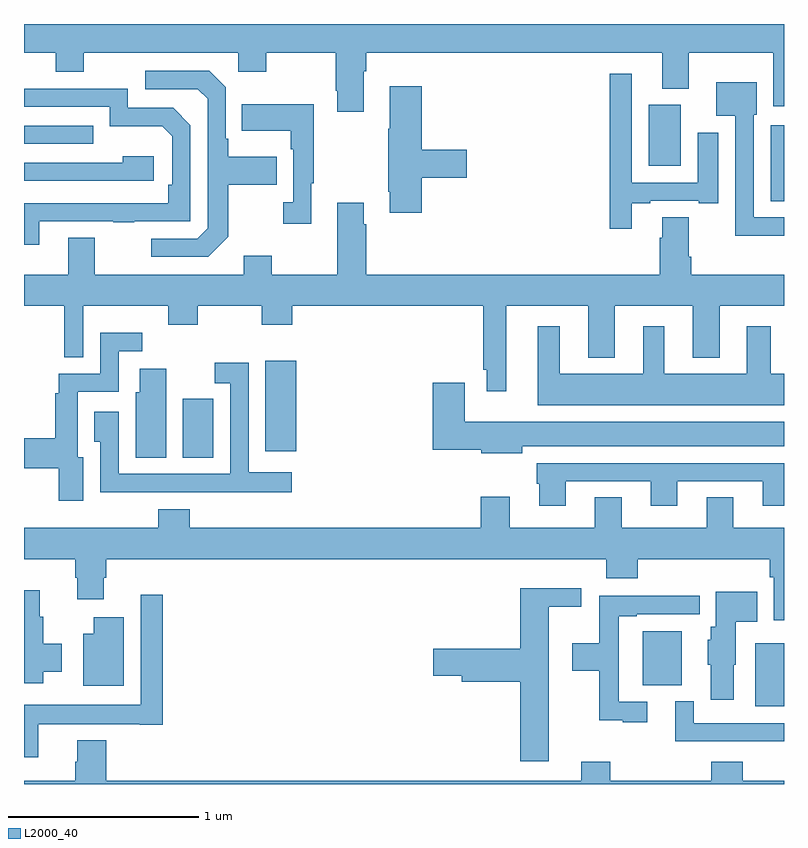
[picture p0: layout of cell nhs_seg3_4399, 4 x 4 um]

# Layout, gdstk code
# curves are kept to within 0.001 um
import gdstk
lib = gdstk.Library(unit=1e-6, precision=1e-09)
def R(c, l, rs):  # rectangles x0, y0, x1, y1
    for r in rs: c.add(gdstk.rectangle(r[:2], r[2:], *l))
def P(c, l, *ps):  # polygons
    for p in ps: c.add(gdstk.Polygon(p, *l))
L2000_40 = (2000, 40)

nhs_seg3_4399 = lib.new_cell('nhs_seg3_4399')
R(nhs_seg3_4399, L2000_40, [(348.848,698.81,349,699.142), (348.257,698.921,348.463,699.205), (345.836,700.117,345.997,700.428), (346.271,700.152,346.432,700.627), (348.929,701.467,349,701.866), (348.287,701.654,348.457,701.974), (345,701.769,345.365,701.865)])
P(nhs_seg3_4399, L2000_40, [(346.789,702.152),(346.802,702.152),(346.802,702.248),(348.359,702.248),(348.359,702.059),(348.499,702.059),(348.499,702.248),(348.944,702.248),(348.944,701.967),(349,701.967),(349,702.4),(345,702.4),(345,702.248),(345.167,702.248),(345.167,702.149),(345.315,702.149),(345.315,702.248),(346.128,702.248),(346.128,702.149),(346.275,702.149),(346.275,702.248),(346.642,702.248),(346.642,702.049),(346.649,702.049),(346.649,701.937),(346.789,701.937)],
  [(346.075,701.281),(346.075,701.554),(346.331,701.554),(346.331,701.701),(346.075,701.701),(346.075,701.797),(346.062,701.797),(346.062,702.066),(345.975,702.153),(345.639,702.153),(345.639,702.057),(345.915,702.057),(345.966,702.006),(345.966,701.325),(345.912,701.271),(345.669,701.271),(345.669,701.175),(345.969,701.175)],
  [(348.199,701.457),(348.295,701.457),(348.295,701.469),(348.551,701.469),(348.551,701.457),(348.655,701.457),(348.655,701.827),(348.545,701.827),(348.545,701.565),(348.198,701.565),(348.198,702.139),(348.082,702.139),(348.082,701.322),(348.199,701.322)],
  [(349,701.382),(348.84,701.382),(348.84,701.922),(348.856,701.922),(348.856,702.094),(348.644,702.094),(348.644,701.918),(348.744,701.918),(348.744,701.285),(349,701.285)],
  [(347.093,701.591),(347.329,701.591),(347.329,701.738),(347.093,701.738),(347.093,702.073),(346.925,702.073),(346.925,701.849),(346.918,701.849),(346.918,701.518),(346.925,701.518),(346.925,701.406),(347.093,701.406)],
  [(345.079,701.361),(345.469,701.361),(345.469,701.356),(345.581,701.356),(345.581,701.361),(345.876,701.361),(345.876,701.868),(345.786,701.958),(345.546,701.958),(345.546,702.06),(345,702.06),(345,701.964),(345.45,701.964),(345.45,701.861),(345.727,701.861),(345.78,701.808),(345.78,701.554),(345.76,701.554),(345.76,701.457),(345,701.456),(345,701.238),(345.079,701.238)],
  [(346.513,701.561),(346.525,701.561),(346.525,701.977),(346.147,701.977),(346.147,701.837),(346.404,701.837),(346.404,701.741),(346.416,701.741),(346.416,701.462),(346.365,701.462),(346.365,701.349),(346.513,701.349)],
  [(345.682,701.704),(345.521,701.704),(345.521,701.67),(345,701.67),(345,701.574),(345.682,701.574)],
  [(347.539,700.916),(347.969,700.916),(347.969,700.643),(348.109,700.643),(348.109,700.916),(348.521,700.916),(348.521,700.643),(348.661,700.643),(348.661,700.916),(349,700.916),(349,701.08),(348.512,701.08),(348.512,701.176),(348.499,701.176),(348.499,701.384),(348.359,701.384),(348.359,701.276),(348.347,701.276),(348.347,701.08),(346.802,701.08),(346.802,701.345),(346.789,701.345),(346.789,701.458),(346.649,701.458),(346.649,701.08),(346.305,701.08),(346.305,701.179),(346.157,701.179),(346.157,701.08),(345.373,701.08),(345.373,701.275),(345.233,701.275),(345.233,701.08),(345,701.08),(345,700.916),(345.212,700.916),(345.212,700.645),(345.313,700.645),(345.313,700.916),(345.76,700.916),(345.76,700.817),(345.915,700.817),(345.915,700.916),(346.252,700.916),(346.252,700.817),(346.412,700.817),(346.412,700.916),(347.418,700.916),(347.418,700.579),(347.435,700.579),(347.435,700.467),(347.539,700.467)],
  [(349,700.558),(348.931,700.558),(348.931,700.81),(348.803,700.81),(348.803,700.558),(348.37,700.558),(348.37,700.81),(348.26,700.81),(348.26,700.558),(347.821,700.558),(347.821,700.81),(347.705,700.81),(347.705,700.394),(349,700.394)],
  [(345.313,700.119),(345.283,700.119),(345.283,700.464),(345.498,700.464),(345.498,700.677),(345.622,700.677),(345.622,700.774),(345.402,700.774),(345.402,700.56),(345.182,700.56),(345.182,700.457),(345.165,700.457),(345.165,700.221),(345,700.221),(345,700.061),(345.182,700.061),(345.182,699.891),(345.313,699.891)],
  [(345.623,699.936),(345.989,699.936),(345.989,699.935),(346.408,699.935),(346.408,700.042),(346.182,700.042),(346.182,700.618),(346.005,700.618),(346.005,700.509),(346.086,700.509),(346.086,700.032),(345.498,700.032),(345.498,700.36),(345.371,700.36),(345.371,700.201),(345.402,700.201),(345.402,699.935),(345.623,699.935)],
  [(345.748,700.585),(345.608,700.585),(345.608,700.461),(345.587,700.461),(345.587,700.117),(345.748,700.117)],
  [(347.623,700.178),(349,700.178),(349,700.306),(347.32,700.306),(347.32,700.513),(347.15,700.513),(347.15,700.16),(347.406,700.16),(347.406,700.142),(347.623,700.142)],
  [(347.851,699.993),(348.299,699.993),(348.299,699.864),(348.439,699.864),(348.439,699.993),(348.887,699.993),(348.887,699.864),(349,699.864),(349,700.089),(347.699,700.089),(347.699,699.981),(347.711,699.981),(347.711,699.864),(347.851,699.864)],
  [(349,699.748),(348.733,699.748),(348.733,699.908),(348.593,699.908),(348.593,699.748),(348.145,699.748),(348.145,699.908),(348.005,699.908),(348.005,699.748),(347.557,699.748),(347.557,699.913),(347.405,699.913),(347.405,699.748),(345.872,699.748),(345.872,699.847),(345.707,699.847),(345.707,699.748),(345,699.748),(345,699.584),(345.269,699.584),(345.269,699.486),(345.281,699.486),(345.281,699.372),(345.421,699.372),(345.421,699.486),(345.434,699.486),(345.434,699.584),(348.065,699.584),(348.065,699.482),(348.23,699.482),(348.23,699.584),(348.925,699.584),(348.925,699.488),(348.945,699.488),(348.945,699.261),(349,699.261)],
  [(347.761,699.332),(347.932,699.332),(347.932,699.43),(347.612,699.43),(347.612,699.111),(347.154,699.111),(347.154,698.969),(347.303,698.969),(347.303,698.939),(347.612,698.939),(347.612,698.52),(347.761,698.52)],
  [(345.1,698.99),(345.199,698.99),(345.199,699.138),(345.1,699.138),(345.1,699.279),(345.082,699.279),(345.082,699.421),(345,699.421),(345,698.931),(345.1,698.931)],
  [(348.736,699.027),(348.745,699.027),(348.745,699.254),(348.86,699.254),(348.86,699.412),(348.641,699.412),(348.641,699.228),(348.614,699.228),(348.614,699.159),(348.599,699.159),(348.599,699.027),(348.614,699.027),(348.614,698.844),(348.736,698.844)],
  [(345.074,698.714),(345.608,698.714),(345.608,698.712),(345.731,698.712),(345.731,699.397),(345.615,699.397),(345.615,698.818),(345,698.818),(345,698.54),(345.074,698.54)],
  [(348.28,698.832),(348.129,698.832),(348.129,699.282),(348.226,699.282),(348.226,699.294),(348.556,699.294),(348.556,699.392),(348.313,699.392),(348.313,699.39),(348.028,699.39),(348.028,699.142),(347.886,699.142),(347.886,698.995),(348.028,698.995),(348.028,698.735),(348.152,698.735),(348.152,698.724),(348.28,698.724)],
  [(345.526,699.277),(345.368,699.277),(345.368,699.19),(345.311,699.19),(345.311,698.918),(345.526,698.918)],
  [(349,698.721),(348.525,698.721),(348.525,698.836),(348.428,698.836),(348.428,698.625),(349,698.625)],
  [(349,698.416),(348.782,698.416),(348.782,698.518),(348.617,698.518),(348.617,698.416),(348.086,698.416),(348.086,698.518),(347.933,698.518),(347.933,698.416),(345.434,698.416),(345.434,698.629),(345.281,698.629),(345.281,698.517),(345.269,698.517),(345.269,698.416),(345,698.416),(345,698.4),(349,698.4)])

lib.write_gds('nhs_seg3_4399.gds')
